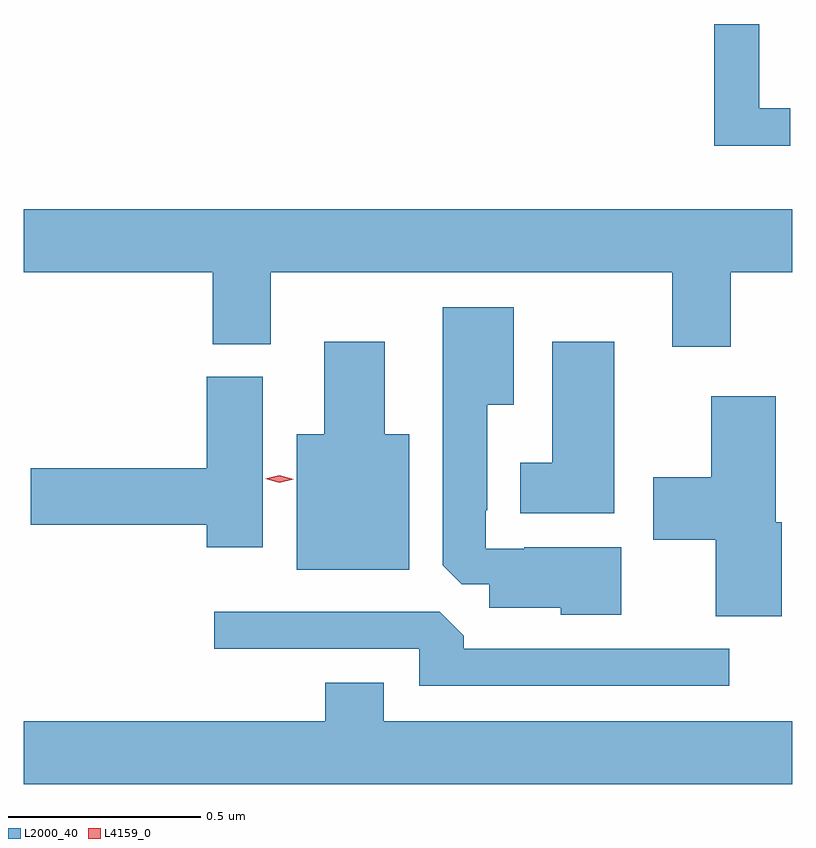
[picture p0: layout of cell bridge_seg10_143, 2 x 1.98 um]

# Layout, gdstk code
import gdstk
lib = gdstk.Library(unit=1e-6, precision=1e-09)
def P(c, l, *ps):  # polygons
    for p in ps: c.add(gdstk.Polygon(p, *l))
L2000_40 = (2000, 40)
L4159_0 = (4159, 0)

bridge_seg10_143 = lib.new_cell('bridge_seg10_143')
P(bridge_seg10_143, L2000_40, [(340.474,1300.743),(340.392,1300.743),(340.392,1300.963),(340.276,1300.963),(340.276,1300.646),(340.474,1300.646)],
  [(340.319,1300.316),(340.478,1300.316),(340.478,1300.48),(338.478,1300.48),(338.478,1300.316),(338.969,1300.316),(338.969,1300.129),(339.121,1300.129),(339.121,1300.316),(340.166,1300.316),(340.166,1300.122),(340.319,1300.122)],
  [(340.033,1299.601),(339.781,1299.601),(339.781,1299.597),(339.681,1299.597),(339.681,1299.697),(339.685,1299.697),(339.685,1299.971),(339.754,1299.971),(339.754,1300.225),(339.569,1300.225),(339.569,1299.553),(339.618,1299.504),(339.689,1299.504),(339.689,1299.443),(339.876,1299.443),(339.876,1299.425),(340.033,1299.425)],
  [(339.481,1299.895),(339.418,1299.895),(339.418,1300.135),(339.26,1300.135),(339.26,1299.895),(339.188,1299.895),(339.188,1299.542),(339.481,1299.542)],
  [(340.015,1300.135),(339.854,1300.135),(339.854,1299.82),(339.77,1299.82),(339.77,1299.689),(340.015,1299.689)],
  [(339.1,1300.044),(338.954,1300.044),(338.954,1299.806),(338.496,1299.806),(338.496,1299.659),(338.954,1299.659),(338.954,1299.6),(339.1,1299.6)],
  [(340.451,1299.665),(340.436,1299.665),(340.436,1299.994),(340.268,1299.994),(340.268,1299.783),(340.116,1299.783),(340.116,1299.62),(340.28,1299.62),(340.28,1299.421),(340.451,1299.421)],
  [(340.315,1299.336),(339.623,1299.336),(339.623,1299.37),(339.561,1299.432),(338.973,1299.432),(338.973,1299.336),(339.507,1299.336),(339.507,1299.24),(340.315,1299.24)],
  [(340.478,1299.148),(339.415,1299.148),(339.415,1299.247),(339.263,1299.247),(339.263,1299.148),(338.478,1299.148),(338.478,1298.984),(340.478,1298.984)])
P(bridge_seg10_143, L4159_0, [(339.143,1299.768),(339.106,1299.779),(339.105,1299.779),(339.106,1299.779),(339.143,1299.788),(339.181,1299.778),(339.181,1299.778),(339.181,1299.777)])

lib.write_gds('bridge_seg10_143.gds')
